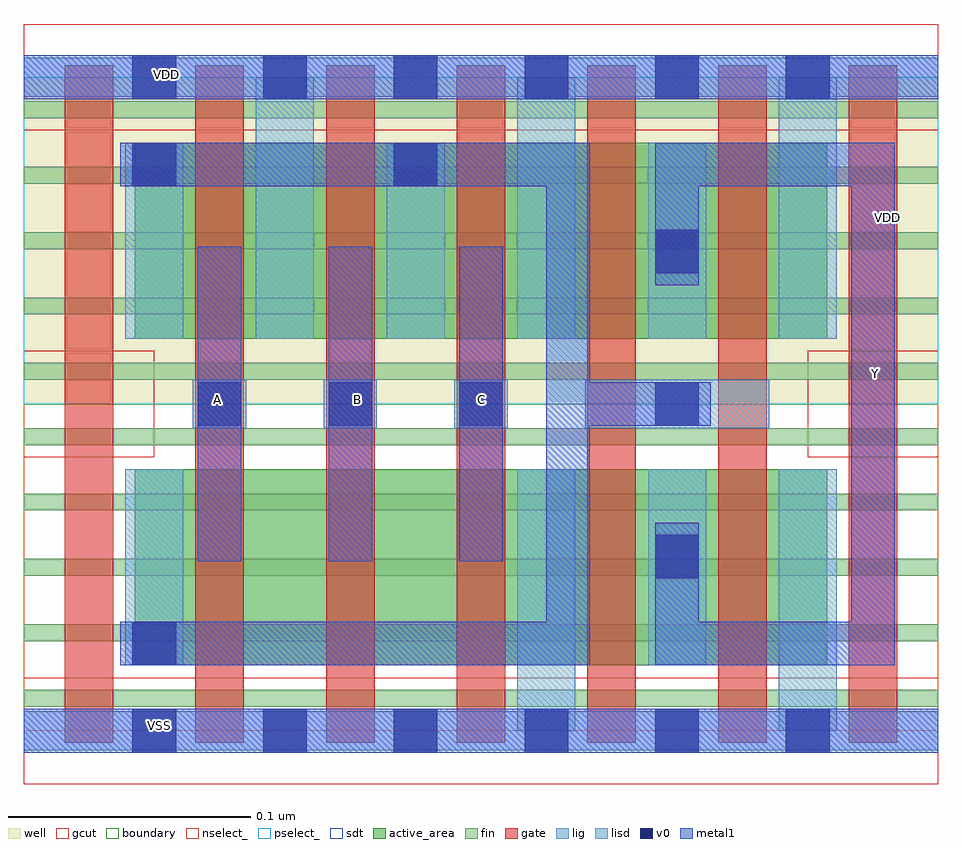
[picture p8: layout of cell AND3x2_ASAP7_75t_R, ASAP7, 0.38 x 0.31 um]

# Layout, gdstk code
import gdstk
lib = gdstk.Library(unit=1e-6, precision=2.5e-10)
def R(c, l, rs):  # rectangles x0, y0, x1, y1
    for r in rs: c.add(gdstk.rectangle(r[:2], r[2:], *l))
def A(c, l, x, y, w, h, nx, ny, dx, dy):  # array of equal rectangles
    R(c, l, [(x+i*dx, y+j*dy, x+i*dx+w, y+j*dy+h) for i in range(nx) for j in range(ny)])
def P(c, l, *ps):  # polygons
    for p in ps: c.add(gdstk.Polygon(p, *l))
well = (1, 0)
fin = (2, 0)
gate = (7, 0)
gcut = (10, 0)
active_area = (11, 0)
nselect_ = (12, 0)
pselect_ = (13, 0)
lig = (16, 0)
lisd = (17, 0)
v0 = (18, 0)
metal1 = (19, 0)
sdt = (88, 0)
boundary = (100, 0)

and3x2_asap7_75t_r = lib.new_cell('AND3x2_ASAP7_75t_R')
R(and3x2_asap7_75t_r, well, [(0,0.135,0.378,0.27)])
A(and3x2_asap7_75t_r, fin, 0, 0.01, 0.378, 0.007, 1, 10, 0, 0.027)
A(and3x2_asap7_75t_r, gate, 0.017, -0.005, 0.02, 0.28, 7, 1, 0.054, 0)
R(and3x2_asap7_75t_r, gcut, [(0,-0.022,0.378,0.022), (0,0.113,0.054,0.157), (0.324,0.113,0.378,0.157), (0,0.248,0.378,0.292)])
R(and3x2_asap7_75t_r, active_area, [(0.046,0.027,0.332,0.108), (0.046,0.162,0.332,0.243)])
R(and3x2_asap7_75t_r, nselect_, [(0,0,0.378,0.135)])
R(and3x2_asap7_75t_r, pselect_, [(0,0.135,0.378,0.27)])
A(and3x2_asap7_75t_r, lig, 0.07, 0.125, 0.022, 0.02, 3, 1, 0.054, 0)
R(and3x2_asap7_75t_r, lig, [(0,-0.008,0.378,0.008), (0.232,0.125,0.308,0.145), (0,0.262,0.378,0.278)])
A(and3x2_asap7_75t_r, lisd, 0.042, 0.162, 0.024, 0.081, 3, 1, 0.108, 0)
A(and3x2_asap7_75t_r, lisd, 0.096, 0.162, 0.024, 0.108, 3, 1, 0.108, 0)
R(and3x2_asap7_75t_r, lisd, [(0.204,0,0.228,0.108), (0.312,0,0.336,0.108), (0.042,0.027,0.066,0.108), (0.258,0.027,0.282,0.108)])
A(and3x2_asap7_75t_r, v0, 0.045, -0.009, 0.018, 0.018, 6, 2, 0.054, 0.27)
A(and3x2_asap7_75t_r, v0, 0.261, 0.063, 0.018, 0.018, 1, 3, 0, 0.063)
A(and3x2_asap7_75t_r, v0, 0.072, 0.126, 0.018, 0.018, 3, 1, 0.054, 0)
R(and3x2_asap7_75t_r, v0, [(0.045,0.027,0.063,0.045), (0.045,0.225,0.063,0.243), (0.153,0.225,0.171,0.243)])
A(and3x2_asap7_75t_r, metal1, 0.072, 0.07, 0.018, 0.13, 3, 1, 0.054, 0)
R(and3x2_asap7_75t_r, metal1, [(0,-0.009,0.378,0.009), (0,0.261,0.378,0.279)])
P(and3x2_asap7_75t_r, metal1, [(0.284,0.144),(0.234,0.144),(0.234,0.243),(0.04,0.243),(0.04,0.225),(0.216,0.225),(0.216,0.045),(0.04,0.045),(0.04,0.027),(0.234,0.027),(0.234,0.126),(0.284,0.126)],
  [(0.36,0.243),(0.261,0.243),(0.261,0.184),(0.279,0.184),(0.279,0.225),(0.342,0.225),(0.342,0.045),(0.279,0.045),(0.279,0.086),(0.261,0.086),(0.261,0.027),(0.36,0.027)])
A(and3x2_asap7_75t_r, sdt, 0.204, 0.027, 0.024, 0.081, 3, 1, 0.054, 0)
A(and3x2_asap7_75t_r, sdt, 0.042, 0.162, 0.024, 0.081, 6, 1, 0.054, 0)
R(and3x2_asap7_75t_r, sdt, [(0.042,0.027,0.066,0.108)])
R(and3x2_asap7_75t_r, boundary, [(0,0,0.378,0.27)])
and3x2_asap7_75t_r.add(gdstk.Label('VSS', (0.426,0.211), layer=3, texttype=251))
and3x2_asap7_75t_r.add(gdstk.Label('VDD', (0.357,0.212), layer=1, texttype=251))
and3x2_asap7_75t_r.add(gdstk.Label('Y', (0.352,0.1475), layer=19, texttype=251))
and3x2_asap7_75t_r.add(gdstk.Label('VDD', (0.059,0.271), layer=19, texttype=251))
and3x2_asap7_75t_r.add(gdstk.Label('VSS', (0.056,0.002), layer=19, texttype=251))
and3x2_asap7_75t_r.add(gdstk.Label('A', (0.08,0.137), layer=19, texttype=251))
and3x2_asap7_75t_r.add(gdstk.Label('B', (0.138,0.137), layer=19, texttype=251))
and3x2_asap7_75t_r.add(gdstk.Label('C', (0.189,0.137), layer=19, texttype=251))

lib.write_gds('AND3x2_ASAP7_75t_R.gds')
